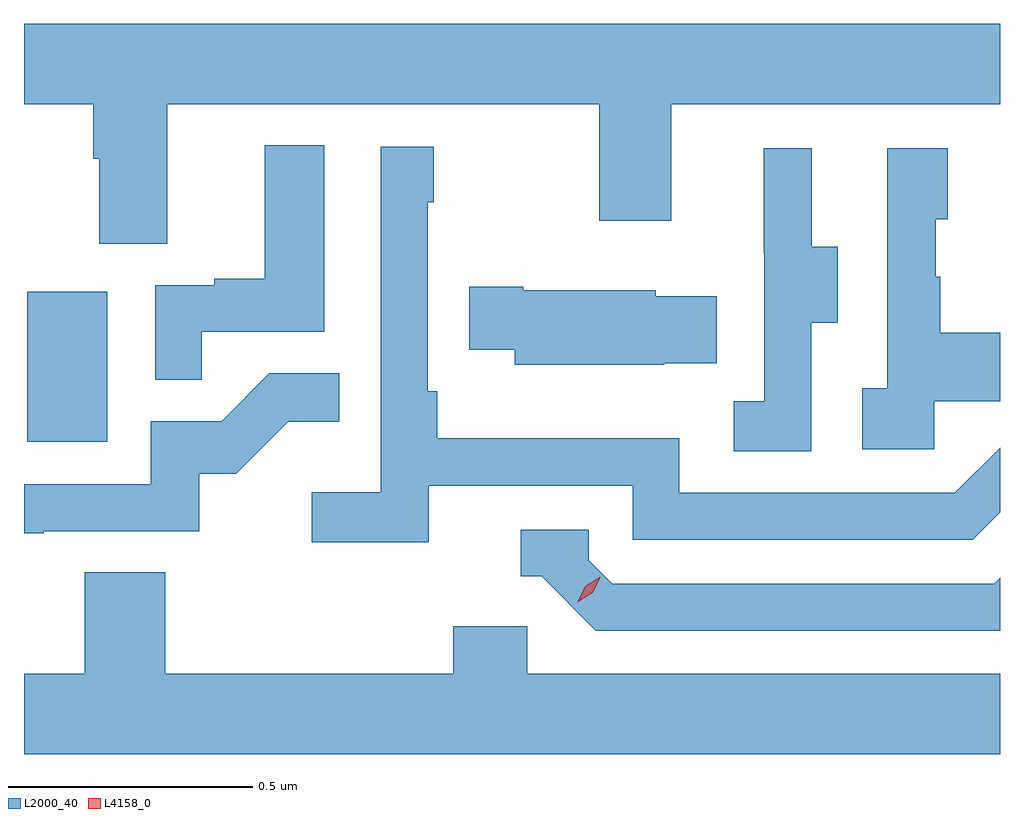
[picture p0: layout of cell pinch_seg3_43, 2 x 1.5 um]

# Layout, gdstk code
import gdstk
lib = gdstk.Library(unit=1e-6, precision=1e-09)
def R(c, l, rs):  # rectangles x0, y0, x1, y1
    for r in rs: c.add(gdstk.rectangle(r[:2], r[2:], *l))
def P(c, l, *ps):  # polygons
    for p in ps: c.add(gdstk.Polygon(p, *l))
L2000_40 = (2000, 40)
L4158_0 = (4158, 0)

pinch_seg3_43 = lib.new_cell('pinch_seg3_43')
R(pinch_seg3_43, L2000_40, [(1105.712,738.852,1105.876,739.159)])
P(pinch_seg3_43, L2000_40, [(1105.999,739.544),(1106.884,739.544),(1106.884,739.305),(1107.031,739.305),(1107.031,739.544),(1107.705,739.544),(1107.705,739.708),(1105.705,739.708),(1105.705,739.544),(1105.847,739.544),(1105.847,739.432),(1105.859,739.432),(1105.859,739.258),(1105.999,739.258)],
  [(1106.069,739.077),(1106.32,739.077),(1106.32,739.459),(1106.198,739.459),(1106.198,739.186),(1106.095,739.186),(1106.095,739.173),(1105.974,739.173),(1105.974,738.979),(1106.069,738.979)],
  [(1106.534,738.762),(1106.952,738.762),(1106.952,738.651),(1107.649,738.651),(1107.705,738.707),(1107.705,738.84),(1107.612,738.747),(1107.048,738.747),(1107.048,738.859),(1106.552,738.859),(1106.552,738.955),(1106.532,738.955),(1106.532,739.343),(1106.545,739.343),(1106.545,739.456),(1106.436,739.456),(1106.436,738.748),(1106.295,738.748),(1106.295,738.646),(1106.534,738.646)],
  [(1107.57,738.935),(1107.705,738.935),(1107.705,739.075),(1107.583,739.075),(1107.583,739.19),(1107.573,739.19),(1107.573,739.308),(1107.598,739.308),(1107.598,739.453),(1107.474,739.453),(1107.474,738.962),(1107.423,738.962),(1107.423,738.837),(1107.57,738.837)],
  [(1107.318,739.096),(1107.373,739.096),(1107.373,739.251),(1107.319,739.251),(1107.319,739.453),(1107.221,739.453),(1107.221,739.239),(1107.222,739.239),(1107.222,738.935),(1107.159,738.935),(1107.159,738.832),(1107.318,738.832)],
  [(1107.017,739.013),(1107.125,739.013),(1107.125,739.15),(1107,739.15),(1107,739.162),(1106.728,739.162),(1106.728,739.17),(1106.617,739.17),(1106.617,739.04),(1106.711,739.04),(1106.711,739.01),(1107.017,739.01)],
  [(1105.745,738.669),(1106.064,738.669),(1106.064,738.786),(1106.14,738.786),(1106.247,738.893),(1106.351,738.893),(1106.351,738.992),(1106.208,738.992),(1106.11,738.894),(1105.965,738.894),(1105.965,738.765),(1105.705,738.765),(1105.705,738.664),(1105.745,738.664)],
  [(1107.705,738.573),(1107.693,738.561),(1106.91,738.561),(1106.862,738.609),(1106.862,738.672),(1106.723,738.672),(1106.723,738.576),(1106.766,738.576),(1106.877,738.465),(1107.705,738.465)],
  [(1107.705,738.376),(1106.736,738.376),(1106.736,738.474),(1106.585,738.474),(1106.585,738.376),(1105.994,738.376),(1105.994,738.584),(1105.829,738.584),(1105.829,738.376),(1105.705,738.376),(1105.705,738.212),(1107.705,738.212)])
P(pinch_seg3_43, L4158_0, [(1106.839,738.523),(1106.839,738.523),(1106.855,738.556),(1106.886,738.575),(1106.886,738.575),(1106.886,738.574),(1106.87,738.542),(1106.839,738.523)])

lib.write_gds('pinch_seg3_43.gds')
